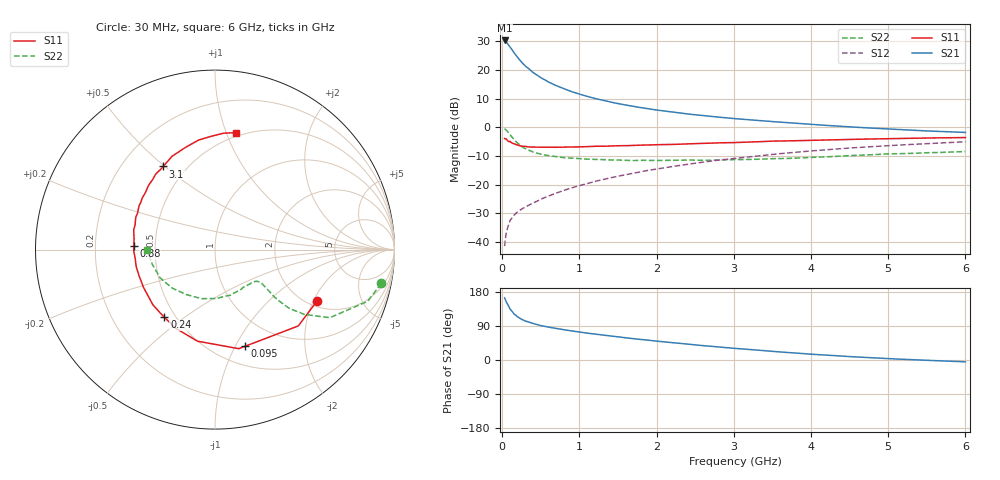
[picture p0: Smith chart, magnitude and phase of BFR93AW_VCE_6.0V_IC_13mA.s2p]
! Infineon Technologies  Discrete & RF Semiconductors
! BFR93AW
! VCE =  6.0 V,  IC =  13 mA
! Common Emitter S-Parameters:  Nov 2015
# GHz  S  MA  R  50
!  f  S11  S21  S12  S22
! GHz  MAG  ANG  MAG  ANG  MAG  ANG  MAG  ANG
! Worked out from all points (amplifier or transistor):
!   206 points, 30 MHz to 6 GHz, reference 50 ohm
!   highest |S21| = 30.3 dB at 30 MHz (marker M1)
!   |S21| within 3 dB of that: start of sweep to 119.7 MHz
!   unconditionally stable (mu >= 1): 674.3 MHz to 2.206 GHz
!   at 200 MHz: K = 0.57, MSG = 26.9 dB, |S12| = -29.5 dB
!   at 1.56 GHz: K = 1.05, MAG = 11.0 dB, |S12| = -16.8 dB
!   at 6 GHz: K = 0.89, MSG = 1.6 dB, |S12| = -5.1 dB
!   S11 on the Smith chart (normalised r, x): 30 MHz: 2.21, -2.13; 95 MHz: 0.69, -1.09; 240 MHz: 0.44, -0.42; 880 MHz: 0.38, +0.02; 3.1 GHz: 0.37, +0.49; 6 GHz: 0.47, +1.08
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0.03  0.6363 -26.8  32.79 163.9  0.0084 77.5  0.9456 -11.5
0.05  0.6295 -42.5  31.25 153.5  0.014 72.1  0.8984 -18.7
0.095  0.5641 -72.9  25.85 136.7  0.0226 62.9  0.7573 -29.3
0.1  0.5676 -76.5  25.42 134.4  0.0236 62.3  0.7436 -30.7
0.15  0.5196 -100.7  20.14 121.8  0.0289 55.9  0.613 -36.0
0.2  0.4903 -116.5  16.42 113.5  0.0335 55.7  0.5255 -38.4
0.24  0.4709 -126.7  14.2 108.7  0.0365 55.5  0.4753 -38.6
0.26  0.4664 -131.1  13.26 106.5  0.038 55.8  0.4547 -38.7
0.3  0.4629 -138.4  11.69 102.7  0.0406 56.8  0.4224 -38.6
0.4  0.4506 -152.0  8.996 95.9  0.0477 59.5  0.3688 -37.2
0.5  0.4476 -161.3  7.327 90.7  0.0553 61.9  0.3368 -36.3
0.6  0.4491 -168.0  6.153 86.6  0.0632 63.6  0.319 -35.8
0.7  0.4473 -174.0  5.325 83.0  0.0709 65.0  0.3065 -36.1
0.88  0.4525 177.6  4.283 77.3  0.086 66.8  0.2906 -37.4
1.04  0.4564 171.2  3.652 72.6  0.0994 67.9  0.2814 -39.6
1.2  0.4666 166.1  3.186 68.4  0.1133 68.2  0.2754 -42.4
1.5  0.4767 157.8  2.588 61.0  0.1401 68.1  0.2681 -48.9
2.02  0.4971 144.4  1.985 49.4  0.1886 66.2  0.2645 -62.2
3.1  0.5458 121.9  1.385 29.4  0.2953 58.4  0.2729 -91.9
4.1  0.5962 104.6  1.1 14.1  0.3956 48.6  0.3005 -126.1
5.1  0.635 90.6  0.919 2.7  0.4861 37.3  0.3449 -155.5
6  0.6614 80.0  0.813 -4.8  0.5579 27.3  0.378 -179.6
